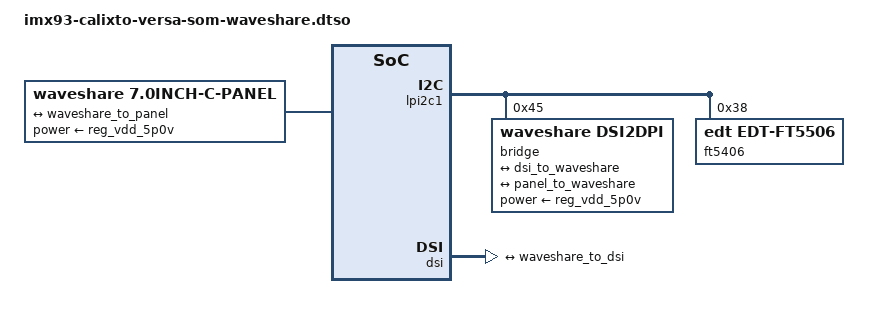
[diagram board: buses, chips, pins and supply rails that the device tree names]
// SPDX-License-Identifier: (GPL-2.0+ OR MIT)
/*
 * Overlay: Waveshare DSI-to-DPI bridge (waveshare,dsi2dpi) + panel-dpi +
 * GT911 touch. Base dts must have &i2c3, &mipi_dsi, &ldb, &ldb_phy labels.
 */
/dts-v1/;
/plugin/;

#include "imx93-pinfunc.h"
/ {
	fragment@0 {
		target = <&lpi2c1>;
		__overlay__ {
			#address-cells = <1>;
			#size-cells = <0>;

			bridge@45 {
				compatible = "waveshare,dsi2dpi";
				reg = <0x45>;
				power-supply = <&reg_vdd_5p0v>;

				ports {
					#address-cells = <1>;
					#size-cells = <0>;

				port@0 {
					reg = <0>;

					waveshare_to_dsi: endpoint {
						data-lanes = <1 2>;
						remote-endpoint = <&dsi_to_waveshare>;
					};
				};

				port@1 {
					reg = <1>;
	
					waveshare_to_panel: endpoint {
						remote-endpoint = <&panel_to_waveshare>;
					};
				};
			};
		};

		ft5406: ts@38 {
			compatible = "edt,edt-ft5506";
			reg = <0x38>;

			touchscreen-size-x = < 800 >;
            	        touchscreen-size-y = < 480 >;
			touchscreen-inverted-x;
			touchscreen-inverted-y;
			};

		};
	};

	/* panel-dpi is board-level, not under any bus - attach to root */
	fragment@1 {
		target-path = "/";
		__overlay__ {
			panel {
				compatible = "waveshare,7.0inch-c-panel", "panel-dpi";
				power-supply = <&reg_vdd_5p0v>;
				bus-format = <0x100a>;   /* MEDIA_BUS_FMT_RGB888_1X24 */

				port {
					panel_to_waveshare: endpoint {
						remote-endpoint = <&waveshare_to_panel>;
					};
				};

				panel-timing {
					clock-frequency = <28030000>;
					hactive = <800>;
					vactive = <480>;
					hfront-porch = <70>;
					hback-porch = <26>;
					hsync-len = <20>;
					vback-porch = <21>;
					vfront-porch = <7>;
					vsync-len = <10>;

					hsync-active = <0>;
					vsync-active = <0>;
					de-active = <1>;
					pixelclk-active = <1>;
				};	
			};	
		};
	};

	fragment@2 {
		target = <&ldb>;
		__overlay__ {
			status = "disabled";
		};
	};

	fragment@3 {
		target = <&ldb_phy>;
		__overlay__ {
			status = "disabled";
		};
	};

	fragment@4 {
		target = <&dsi>;
		__overlay__ {
			status = "okay";
			ports {
			#address-cells = <1>;
			#size-cells = <0>;

				port@1 {
					reg = <1>;
					dsi_to_waveshare: endpoint {
						remote-endpoint = <&waveshare_to_dsi>;
					};
				};
			};
		};
	};
};
